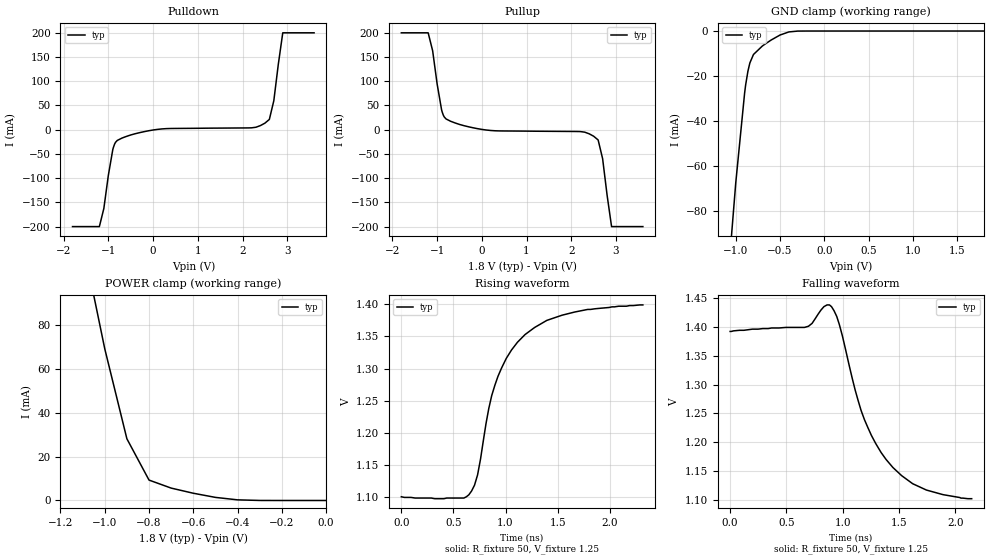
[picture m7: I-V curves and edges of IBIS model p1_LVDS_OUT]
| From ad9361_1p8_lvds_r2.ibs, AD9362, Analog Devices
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[model] p1_LVDS_OUT
Model_type I/O
Vinl = 0.63
Vinh = 1.17
Cref  =   3.000pF
Rref  =   50Ohm
Vref  =   1.8V
Vmeas =   1.4V
C_comp 4pF NA NA
| variable   typ   min   max
[Voltage Range]   1.800V  NA   NA
[GND Clamp Reference]   0.000V  NA   NA
[POWER Clamp Reference] 1.800V  NA   NA
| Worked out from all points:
|   slope of the pulldown table from 0 to 0.27 V, typ, clamps not added: 101 ohm
|   slope of the pullup table from 0 to 0.27 V, typ, clamps not added: 101 ohm
|   GND clamp passes 1 mA (typ) near -0.44 V on its own axis
|   POWER clamp passes 1 mA (typ) near -0.46 V on its own axis
|   falling waveform, R_fixture 50, V_fixture 1.25: 20-80 % time 372ps typ, NA min, NA max; typ from 1.39 V to 1.1 V
|   rising waveform, R_fixture 50, V_fixture 1.25: 20-80 % time 346ps typ, NA min, NA max; typ from 1.1 V to 1.4 V
[GND Clamp]
| Voltage  I(typ)   I(min)  I(max)
-1.8V     -497mA     NA         NA
-1.1V     -116mA     NA         NA
-1V       -67.3mA    NA         NA
-900mV    -27.5mA    NA         NA
-888mV    -23.8mA    NA         NA
-856mV    -16.7mA    NA         NA
-841mV    -14.2mA    NA         NA
-800mV    -10.4mA    NA         NA
-600mV    -3.98mA    NA         NA
-400mV    -401uA     NA         NA
-300mV    -24.2uA    NA         NA
1.8V      448pA      NA         NA
[POWER Clamp]
| Voltage  I(typ)   I(min)  I(max)
-1.8V     501mA      NA         NA
-1.1V     118mA      NA         NA
-1V       69.1mA     NA         NA
-900mV    28.1mA     NA         NA
-800mV    9.29mA     NA         NA
-700mV    5.64mA     NA         NA
-500mV    1.41mA     NA         NA
-400mV    291uA      NA         NA
0V        448pA      NA         NA
[Pulldown]
| Voltage  I(typ)   I(min)  I(max)
-1.8V     -200mA     NA         NA
-1.2V     -200mA     NA         NA
-1.1V     -162.7mA   NA         NA
-900mV    -41.12mA   NA         NA
-800mV    -22.17mA   NA         NA
100mV     659.1uA    NA         NA
2.2V      3.841mA    NA         NA
2.5V      13.47mA    NA         NA
2.6V      21.18mA    NA         NA
2.7V      59.84mA    NA         NA
2.9V      200mA      NA         NA
3.6V      200mA      NA         NA
[Pullup]
| Voltage  I(typ)   I(min)  I(max)
-1.8V     200mA      NA         NA
-1.2V     200mA      NA         NA
-1.1V     163mA      NA         NA
-900mV    41.1mA     NA         NA
-800mV    22.2mA     NA         NA
100mV     -659uA     NA         NA
2.2V      -3.84mA    NA         NA
2.5V      -13.5mA    NA         NA
2.6V      -21.2mA    NA         NA
2.7V      -59.8mA    NA         NA
2.9V      -200mA     NA         NA
3.6V      -200mA     NA         NA
[Ramp]
|   typ   min   max
dV/dt_r   1.18V/.1079ns   NA   NA
dV/dt_f   1.18V/.1081ns   NA   NA
R_load=50
[Falling Waveform]
R_fixture=50
V_fixture=1.25
| Time   V(typ)   V(min)  V(max)
0s        1.392V     NA         NA
659.9ps   1.399V     NA         NA
882ps     1.438V     NA         NA
969.9ps   1.404V     NA         NA
1.111ns   1.29V      NA         NA
1.193ns   1.239V     NA         NA
1.385ns   1.17V      NA         NA
1.523ns   1.142V     NA         NA
1.743ns   1.117V     NA         NA
2.145ns   1.102V     NA         NA
[Rising Waveform]
R_fixture=50
V_fixture=1.25
| Time   V(typ)   V(min)  V(max)
0s        1.101V     NA         NA
647.4ps   1.104V     NA         NA
702.1ps   1.119V     NA         NA
731.5ps   1.135V     NA         NA
838.8ps   1.238V     NA         NA
926.9ps   1.288V     NA         NA
1.057ns   1.329V     NA         NA
1.187ns   1.353V     NA         NA
1.541ns   1.383V     NA         NA
2.317ns   1.399V     NA         NA
